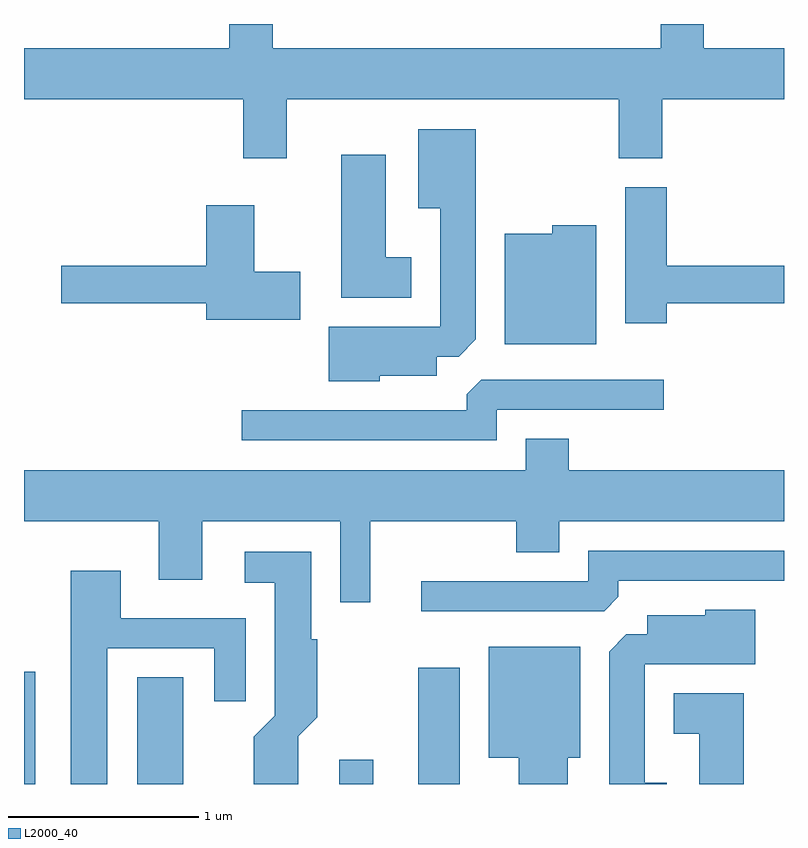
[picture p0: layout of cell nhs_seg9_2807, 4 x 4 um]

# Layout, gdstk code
import gdstk
lib = gdstk.Library(unit=1e-6, precision=1e-09)
def R(c, l, rs):  # rectangles x0, y0, x1, y1
    for r in rs: c.add(gdstk.rectangle(r[:2], r[2:], *l))
def P(c, l, *ps):  # polygons
    for p in ps: c.add(gdstk.Polygon(p, *l))
L2000_40 = (2000, 40)

nhs_seg9_2807 = lib.new_cell('nhs_seg9_2807')
R(nhs_seg9_2807, L2000_40, [(267.611,1990.432,267.669,1991.024), (268.206,1990.432,268.449,1990.994), (269.271,1990.432,269.449,1990.559), (269.686,1990.432,269.904,1991.044)])
P(nhs_seg9_2807, L2000_40, [(268.994,1994.036),(270.741,1994.036),(270.741,1993.726),(270.969,1993.726),(270.969,1994.036),(271.611,1994.036),(271.611,1994.304),(271.189,1994.304),(271.189,1994.432),(270.961,1994.432),(270.961,1994.304),(268.919,1994.304),(268.919,1994.432),(268.691,1994.432),(268.691,1994.304),(267.611,1994.304),(267.611,1994.036),(268.766,1994.036),(268.766,1993.726),(268.994,1993.726)],
  [(269.484,1992.581),(269.784,1992.581),(269.784,1992.681),(269.899,1992.681),(269.989,1992.772),(269.989,1993.879),(269.686,1993.879),(269.686,1993.461),(269.801,1993.461),(269.801,1992.839),(269.216,1992.839),(269.216,1992.551),(269.484,1992.551)],
  [(269.649,1993.204),(269.514,1993.204),(269.514,1993.744),(269.281,1993.744),(269.281,1992.991),(269.649,1992.991)],
  [(270.994,1992.961),(271.611,1992.961),(271.611,1993.159),(270.994,1993.159),(270.994,1993.574),(270.776,1993.574),(270.776,1992.856),(270.994,1992.856)],
  [(269.064,1993.129),(268.824,1993.129),(268.824,1993.479),(268.571,1993.479),(268.571,1993.159),(267.806,1993.159),(267.806,1992.961),(268.571,1992.961),(268.571,1992.876),(269.064,1992.876)],
  [(270.624,1993.374),(270.391,1993.374),(270.391,1993.329),(270.141,1993.329),(270.141,1992.746),(270.624,1992.746)],
  [(270.099,1992.401),(270.978,1992.401),(270.978,1992.559),(270.017,1992.559),(269.941,1992.484),(269.941,1992.399),(268.758,1992.399),(268.758,1992.241),(270.099,1992.241)],
  [(267.611,1991.816),(268.321,1991.816),(268.321,1991.506),(268.549,1991.506),(268.549,1991.816),(269.276,1991.816),(269.276,1991.388),(269.434,1991.388),(269.434,1991.816),(270.201,1991.816),(270.201,1991.651),(270.429,1991.651),(270.429,1991.816),(271.611,1991.816),(271.611,1992.084),(270.479,1992.084),(270.479,1992.249),(270.251,1992.249),(270.251,1992.084),(267.611,1992.084)],
  [(270.739,1991.417),(270.739,1991.501),(271.611,1991.501),(271.611,1991.659),(270.581,1991.659),(270.581,1991.499),(269.703,1991.499),(269.703,1991.341),(270.664,1991.341)],
  [(269.054,1990.684),(269.154,1990.784),(269.154,1991.194),(269.124,1991.194),(269.124,1991.654),(268.773,1991.654),(268.773,1991.491),(268.931,1991.491),(268.931,1990.792),(268.821,1990.682),(268.821,1990.432),(269.054,1990.432)],
  [(268.049,1991.146),(268.611,1991.146),(268.611,1990.868),(268.779,1990.868),(268.779,1991.304),(268.119,1991.304),(268.119,1991.554),(267.856,1991.554),(267.856,1990.432),(268.049,1990.432)],
  [(270.994,1990.439),(270.879,1990.439),(270.879,1991.061),(271.459,1991.061),(271.459,1991.349),(271.196,1991.349),(271.196,1991.319),(270.891,1991.319),(270.891,1991.219),(270.782,1991.219),(270.691,1991.129),(270.691,1990.432),(270.994,1990.432)],
  [(270.474,1990.571),(270.539,1990.571),(270.539,1991.154),(270.056,1991.154),(270.056,1990.571),(270.216,1990.571),(270.216,1990.432),(270.474,1990.432)],
  [(271.399,1990.909),(271.031,1990.909),(271.031,1990.696),(271.166,1990.696),(271.166,1990.432),(271.399,1990.432)])

lib.write_gds('nhs_seg9_2807.gds')
